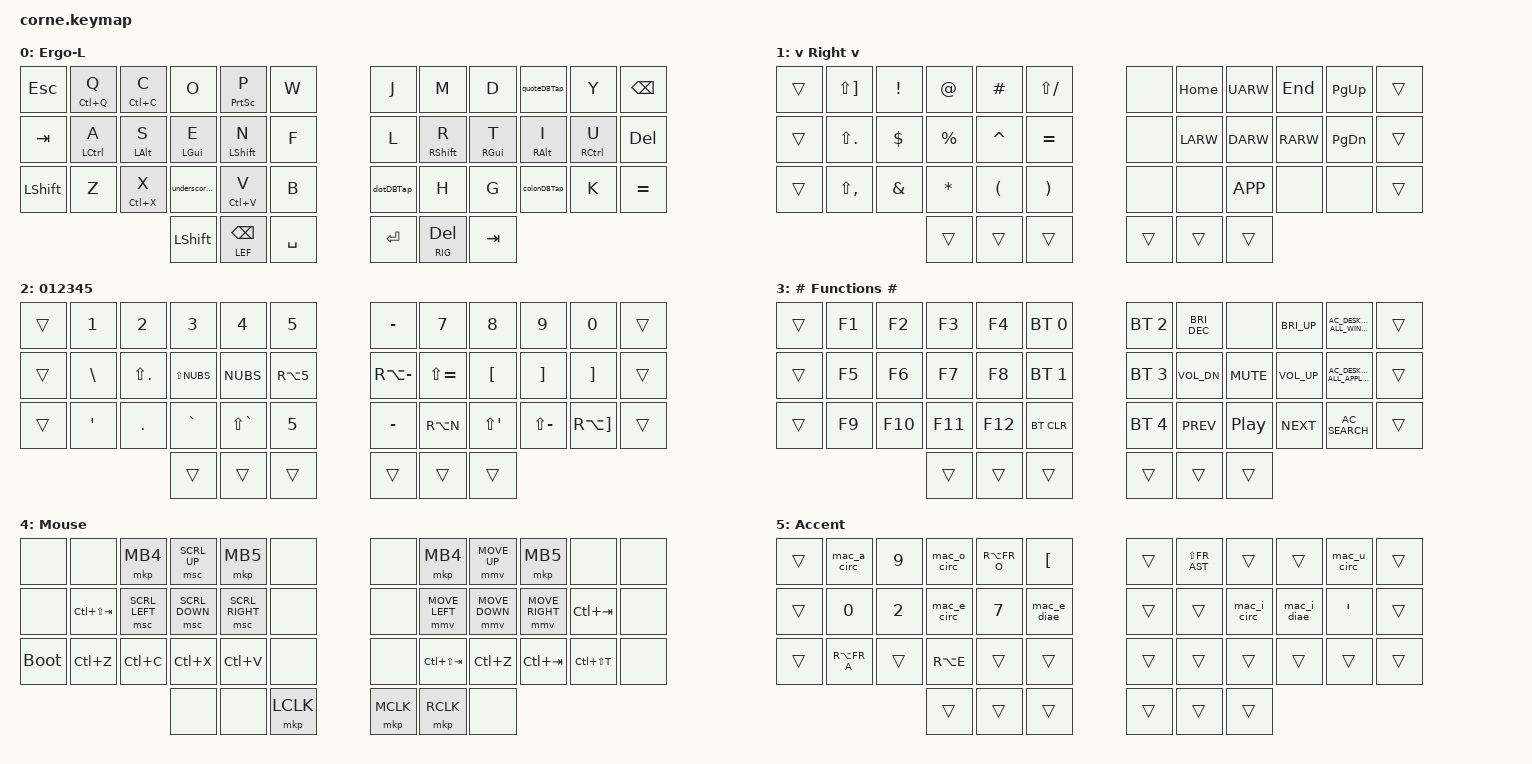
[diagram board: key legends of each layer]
// Copyright (c) 2022 The ZMK Contributors
// SPDX-License-Identifier: MIT
//
// THIS IS A FRENCH LAYOUT MAPPING

#include <behaviors.dtsi>
#include <dt-bindings/zmk/bt.h>
#include <dt-bindings/zmk/keys.h>
#include <dt-bindings/zmk/pointing.h>

/*
 * Here is a translation for all the French keys (AZERTY layout)
 */

#define FR_SUP2 GRAVE        // ²
#define FR_AMPR N1           // &
#define FR_EACU N2           // é
#define FR_DQT N3            // "
#define FR_SQT N4            // '
#define FR_LPAR N5           // (
#define FR_MINUS N6          // -
#define FR_EGRV N7           // è
#define FR_UNDS N8           // _
#define FR_CCED N9           // ç
#define FR_AGRV N0           // à
#define FR_RPAR MINUS        // )
#define FR_EQUAL EQUAL       // =
#define FR_A Q               // A
#define FR_Z W               // Z
#define FR_E E               // E
#define FR_R R               // R
#define FR_T T               // T
#define FR_Y Y               // Y
#define FR_U U               // U
#define FR_I I               // I
#define FR_O O               // O
#define FR_P P               // P
#define FR_CIRC LBKT         // ^
#define FR_DLR RBKT          // $
#define FR_Q A               // Q
#define FR_S S               // S
#define FR_D D               // D
#define FR_F F               // F
#define FR_G G               // G
#define FR_H H               // H
#define FR_J J               // J
#define FR_K K               // K
#define FR_L L               // L
#define FR_M SEMI            // M
#define FR_UGRV SQT          // ù
#define FR_AST NUHS          // *
#define FR_LT NUBS           // <
#define FR_W Z               // W
#define FR_X X               // X
#define FR_C C               // C
#define FR_V V               // V
#define FR_B B               // B
#define FR_N N               // N
#define FR_COMMA M           // .
#define FR_SEMI COMMA        // ;
#define FR_COLON DOT         // :
#define FR_EXCL FSLH         // !
#define FR_1 LS(FR_AMPR)     // 1
#define FR_2 LS(FR_EACU)     // 2
#define FR_3 LS(FR_DQT)      // 3
#define FR_4 LS(FR_SQT)      // 4
#define FR_5 LS(FR_LPAR)     // 5
#define FR_6 LS(FR_MINUS)    // 6
#define FR_7 LS(FR_EGRV)     // 7
#define FR_8 LS(FR_UNDS)     // 8
#define FR_9 LS(FR_CCED)     // 9
#define FR_0 LS(FR_AGRV)     // 0
#define FR_DEG LS(FR_RPAR)   // °
#define FR_PLUS LS(FR_EQUAL) // +
#define FR_DIAE LS(FR_CIRC)  // ¨
#define FR_PND  LS(FR_DLR)   // £
#define FR_PERC LS(FR_UGRV)  // %
#define FR_MICR LS(FR_AST)   // µ
#define FR_GT LS(FR_LT)      // >
#define FR_QUES LS(FR_COMMA) // ?
#define FR_DOT  LS(FR_SEMI)  // .
#define FR_SLSH LS(FR_COLON) // /
#define FR_SECT LS(FR_EXCL)  // §
#define FR_TILD RA(FR_EACU)  // ~
#define FR_HASH RA(FR_DQT)   // #
#define FR_LBRC RA(FR_SQT)   // {
#define FR_LBRK RA(FR_LPAR)  // [
#define FR_PIPE RA(FR_MINUS) // |
#define FR_GRV  RA(FR_EGRV)  // `
#define FR_BSLS RA(FR_UNDS)  // (backslash)
#define FR_AT   RA(FR_AGRV)  // @
#define FR_RBRK RA(FR_RPAR)  // ]
#define FR_RBRC RA(FR_EQUAL) // }
#define FR_EURO RA(E)        // €
#define FR_CURR RA(FR_DLR)   // ¤

// Layers name

#define BASE 0
#define RIG 1
#define LEF 2
#define TRI 3
#define MOUSE 4
#define ACCENT 5

// Mouse settings

#define ZMK_POINTING_DEFAULT_MOVE_VAL 600  // default: 600
#define ZMK_POINTING_DEFAULT_SCRL_VAL 10    // default: 10

/ {
    combos {
        compatible = "zmk,combos";

        // Define combo for Space+Enter to toggle between main and fourth layer

        MouseMod {
            bindings = <&tog 4>;
            key-positions = <38 39>;
        };
    };

    conditional_layers {
        // Copy Enable third layer when both RIG and LEF layers are active
        // This creates a tri-layer state for additional key mappings

        compatible = "zmk,conditional-layers";

        tri_layer {
            if-layers = <1 2>;
            then-layer = <3>;
        };
    };

    behaviors {
        underscoreDBTap: underscoreDBTap {
            compatible = "zmk,behavior-tap-dance";
            label = "UNDERSCOREDBTAP";
            #binding-cells = <0>;
            bindings = <&kp MINUS>, <&kp UNDERSCORE>;
        };

        quoteDBTap: quoteDBTap {
            compatible = "zmk,behavior-tap-dance";
            label = "QUOTEDBTAP";
            #binding-cells = <0>;
            bindings = <&kp APOSTROPHE>, <&kp DOUBLE_QUOTES>;
        };

        colonDBTap: colonDBTap {
            compatible = "zmk,behavior-tap-dance";
            label = "COLONDBTAP";
            #binding-cells = <0>;
            bindings = <&kp COMMA>, <&kp SEMICOLON>;
        };

        dotDBTap: dotDBTap {
            compatible = "zmk,behavior-tap-dance";
            label = "DOTDBTAP";
            #binding-cells = <0>;
            bindings = <&kp DOT>, <&kp COLON>;
        };

        longPress: longPress {
            compatible = "zmk,behavior-hold-tap";
            label = "LONGPRESS";
            bindings = <&kp>, <&kp>;

            #binding-cells = <2>;
            tapping-term-ms = <350>;
            flavor = "tap-preferred";
        };

        HMShiftR: HMShiftR {
            compatible = "zmk,behavior-hold-tap";
            label = "HMSHIFTR";
            bindings = <&kp>, <&kp>;

            #binding-cells = <2>;
            tapping-term-ms = <200>;
            hold-while-undecided;
            hold-trigger-key-positions = <0 1 2 4 5 12 13 14 15 16 17 24 25 26 27 28 29 36 37 38 3>;
            hold-trigger-on-release;
        };

        HMShiftL: HMShiftL {
            compatible = "zmk,behavior-hold-tap";
            label = "HMSHIFTL";
            bindings = <&kp>, <&kp>;

            #binding-cells = <2>;
            tapping-term-ms = <200>;
            hold-while-undecided;
            hold-trigger-on-release;
            hold-trigger-key-positions = <6 7 8 9 10 11 18 19 20 21 22 23 30 31 32 33 34 35 39 40 41>;
        };

        HMR: HMR {
            compatible = "zmk,behavior-hold-tap";
            label = "HMR";
            bindings = <&kp>, <&kp>;

            #binding-cells = <2>;
            tapping-term-ms = <200>;
            hold-while-undecided;
            hold-trigger-key-positions = <0 1 2 4 5 12 13 14 15 16 17 24 25 26 27 28 29 36 37 38 3>;
            hold-trigger-on-release;
            flavor = "tap-preferred";
        };

        HML: HML {
            compatible = "zmk,behavior-hold-tap";
            label = "HML";
            bindings = <&kp>, <&kp>;

            #binding-cells = <2>;
            tapping-term-ms = <200>;
            hold-while-undecided;
            hold-trigger-on-release;
            hold-trigger-key-positions = <6 7 8 9 10 11 18 19 20 21 22 23 30 31 32 33 34 35 39 40 41>;
            flavor = "tap-preferred";
        };
    };

    keymap {
        compatible = "zmk,keymap";

        main {
            display-name = "Ergo-L";
            bindings = <
&kp ESC     &longPress LC(Q) Q  &longPress LC(C) C  &kp O             &longPress PRINTSCREEN P  &kp W        &kp J      &kp M                    &kp D             &quoteDBTap       &kp Y         &kp BSPC
&kp TAB     &HML LCTRL A        &HML LEFT_ALT S     &HML LEFT_GUI E   &HMShiftL LEFT_SHIFT N    &kp F        &kp L      &HMShiftR RIGHT_SHIFT R  &HMR RIGHT_GUI T  &HMR RIGHT_ALT I  &HMR RCTRL U  &kp DEL
&kp LSHIFT  &kp Z               &longPress LC(X) X  &underscoreDBTap  &longPress LC(V) V        &kp B        &dotDBTap  &kp H                    &kp G             &colonDBTap       &kp K         &kp EQUAL
                                                    &kp LSHIFT        &lt LEF BSPC              &kp SPACE    &kp ENTER  &lt RIG DEL              &kp TAB
            >;
        };

        right_layer {
            display-name = "v Right v";
            bindings = <
&trans  &kp LS(RBKT)   &kp EXCL  &kp AT     &kp HASH   &kp LS(FSLH)    &none   &kp HOME  &kp UARW   &kp END   &kp PG_UP  &trans
&trans  &kp LS(DOT)    &kp DLLR  &kp PRCNT  &kp CARET  &kp EQUAL       &none   &kp LARW  &kp DARW   &kp RARW  &kp PG_DN  &trans
&trans  &kp LS(COMMA)  &kp AMPS  &kp ASTRK  &kp LPAR   &kp RPAR        &none   &none     &kp K_APP  &none     &none      &trans
                                 &trans     &trans     &trans          &trans  &trans    &trans
            >;
        };

        numbers {
            display-name = "012345";
            bindings = <
&trans  &kp N1    &kp N2       &kp N3        &kp N4         &kp N5        &kp MINUS      &kp N7         &kp N8       &kp N9         &kp N0        &trans
&trans  &kp BSLH  &kp LS(DOT)  &kp LS(NUBS)  &kp NUBS       &kp RA(N5)    &kp RA(MINUS)  &kp LS(EQUAL)  &kp LBKT     &kp RBKT       &kp RBKT      &trans
&trans  &kp SQT   &kp DOT      &kp GRAVE     &kp LS(GRAVE)  &kp N5        &kp MINUS      &kp RA(N)      &kp LS(SQT)  &kp LS(MINUS)  &kp RA(RBKT)  &trans
                               &trans        &trans         &trans        &trans         &trans         &trans
            >;
        };

        tri_layer {
            display-name = "# Functions #";
            bindings = <
&trans  &kp F1  &kp F2   &kp F3   &kp F4   &bt BT_SEL 0    &bt BT_SEL 2  &kp C_BRI_DEC  &none       &kp C_BRI_UP  &kp C_AC_DESKTOP_SHOW_ALL_WINDOWS       &trans
&trans  &kp F5  &kp F6   &kp F7   &kp F8   &bt BT_SEL 1    &bt BT_SEL 3  &kp C_VOL_DN   &kp C_MUTE  &kp C_VOL_UP  &kp C_AC_DESKTOP_SHOW_ALL_APPLICATIONS  &trans
&trans  &kp F9  &kp F10  &kp F11  &kp F12  &bt BT_CLR      &bt BT_SEL 4  &kp C_PREV     &kp C_PP    &kp C_NEXT    &kp C_AC_SEARCH                         &trans
                         &trans   &trans   &trans          &trans        &trans         &trans
            >;
        };

        mouse {
            display-name = "Mouse";
            bindings = <
&none        &none            &mkp MB4        &msc SCRL_UP    &mkp MB5         &none        &none      &mkp MB4         &mmv MOVE_UP    &mkp MB5         &none          &none
&none        &kp LC(LS(TAB))  &msc SCRL_LEFT  &msc SCRL_DOWN  &msc SCRL_RIGHT  &none        &none      &mmv MOVE_LEFT   &mmv MOVE_DOWN  &mmv MOVE_RIGHT  &kp LC(TAB)    &none
&bootloader  &kp LC(Z)        &kp LC(C)       &kp LC(X)       &kp LC(V)        &none        &none      &kp LC(LS(TAB))  &kp LC(Z)       &kp LC(TAB)      &kp LC(LS(T))  &none
                                              &none           &none            &mkp LCLK    &mkp MCLK  &mkp RCLK        &none
            >;
        };

        accent {
            display-name = "Accent";
            bindings = <
&trans  &mac_a_circ   &kp FR_CCED  &mac_o_circ  &kp RA(FR_O)  &kp FR_CIRC    &trans  &kp FR_MICR  &trans       &trans       &mac_u_circ  &trans
&trans  &kp FR_AGRV   &kp FR_EACU  &mac_e_circ  &kp FR_EGRV   &mac_e_diae    &trans  &trans       &mac_i_circ  &mac_i_diae  &kp FR_UGRV  &trans
&trans  &kp RA(FR_A)  &trans       &kp FR_EURO  &trans        &trans         &trans  &trans       &trans       &trans       &trans       &trans
                                   &trans       &trans        &trans         &trans  &trans       &trans
            >;
        };
    };
};
